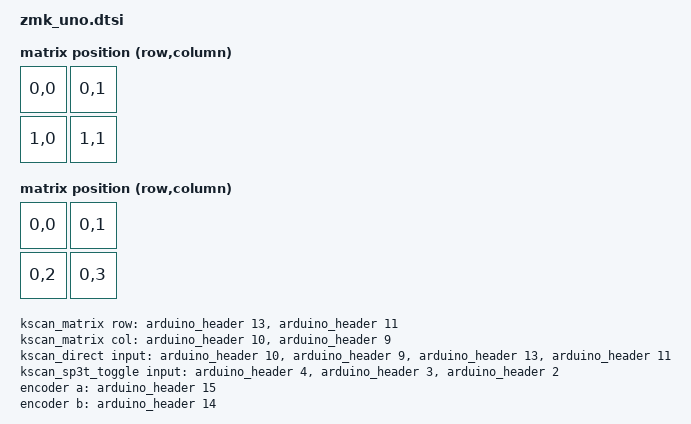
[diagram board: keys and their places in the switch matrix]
/*
 * Copyright (c) 2022 The ZMK Contributors
 *
 * SPDX-License-Identifier: MIT
 */

#include <dt-bindings/led/led.h>
#include <dt-bindings/zmk/matrix_transform.h>
#include "zmk_uno-layouts.dtsi"


&arduino_i2c {
    status = "okay";
};

nice_view_spi: &arduino_spi {
    status = "okay";

    cs-gpios = <&arduino_header 16 GPIO_ACTIVE_HIGH>;

    // Needed so the nice_view shield will enhance the existing node which falls *first*
    // on the bus, properly picking up the first `cs-gpios` specifier.
    ls0xx@0 {
        reg = <0>;

        power-domain = <&core_power_domain>;
        zephyr,pm-device-runtime-auto;
    };

    led_strip: ws2812@0 {
        compatible = "worldsemi,ws2812-spi";

        power-domain = <&rgb_power>;
        zephyr,pm-device-runtime-auto;

        /* SPI */
        reg = <0>; /* ignored, but necessary for SPI bindings */
        spi-max-frequency = <4000000>;

        /* WS2812 */
        chain-length = <7>; /* 4 underglow + 3 per-key LEDs */
        spi-one-frame = <0x70>;
        spi-zero-frame = <0x40>;

        color-mapping = <LED_COLOR_ID_GREEN LED_COLOR_ID_RED LED_COLOR_ID_BLUE>;

    };
};

/ {
    chosen {
        zmk,backlight = &backlight;
        zmk,underglow = &led_strip;
        zephyr,display = &oled;
        zmk,display-default-power-domain = &core_power_domain;
    };

    core_power_domain: core_power_domain {
        // The "power-domain" compatible is needed for any PDs used for that have dynamic deps,
        // e.g. for displays or RGB not assigned to the PD in the devicetree statically.
        compatible = "power-domain-gpio", "power-domain";
        startup-delay-us = <2000>;
        off-on-delay-us = <2000>;
        enable-gpios = <&arduino_header 0 GPIO_ACTIVE_LOW>;
        zephyr,pm-device-runtime-auto;
    };

    rgb_power: rgb_power {
        compatible = "power-domain-gpio";
        startup-delay-us = <200>;
        off-on-delay-us = <2000>;
        enable-gpios = <&arduino_header 1 GPIO_ACTIVE_LOW>;
        power-domain = <&core_power_domain>;
        zephyr,pm-device-runtime-auto;
    };

    backlight: gpioleds {
        compatible = "gpio-leds";
        gpio_led_0 {
            gpios = <&arduino_header 12 GPIO_ACTIVE_HIGH>;
        };
    };

    matrix_transform: matrix_transform {
        compatible = "zmk,matrix-transform";
        rows = <3>;
        columns = <4>;

        map = <
        RC(0,0) RC(0,1)
        RC(1,0) RC(1,1)
        >;
    };

    direct_matrix_transform: direct_matrix_transform {
        compatible = "zmk,matrix-transform";
        rows = <3>;
        columns = <4>;

        map = <
        RC(0,0) RC(0,1)
        RC(0,2) RC(0,3)
        >;
    };

    kscan_matrix: kscan_matrix {
        compatible = "zmk,kscan-gpio-matrix";
        wakeup-source;

        diode-direction = "col2row";

        col-gpios
        = <&arduino_header 10 GPIO_ACTIVE_HIGH>
        , <&arduino_header 9  GPIO_ACTIVE_HIGH>
        ;

        row-gpios
        = <&arduino_header 13 (GPIO_ACTIVE_HIGH | GPIO_PULL_DOWN)>
        , <&arduino_header 11 (GPIO_ACTIVE_HIGH | GPIO_PULL_DOWN)>
        ;

    };

    kscan_direct: kscan_direct {
        compatible = "zmk,kscan-gpio-direct";
        wakeup-source;

        input-gpios
        = <&arduino_header 10 (GPIO_ACTIVE_LOW | GPIO_PULL_UP)>
        , <&arduino_header 9  (GPIO_ACTIVE_LOW | GPIO_PULL_UP)>
        , <&arduino_header 13 (GPIO_ACTIVE_LOW | GPIO_PULL_UP)>
        , <&arduino_header 11 (GPIO_ACTIVE_LOW | GPIO_PULL_UP)>
        ;

    };

    kscan_sp3t_toggle: kscan_sp3t_toggle {
        compatible = "zmk,kscan-gpio-direct";
        toggle-mode;

        input-gpios
        = <&arduino_header 4 GPIO_ACTIVE_LOW>
        , <&arduino_header 3 GPIO_ACTIVE_LOW>
        , <&arduino_header 2 GPIO_ACTIVE_LOW>
        ;
    };

    encoder: encoder {
        steps = <80>;
        compatible = "alps,ec11";
        a-gpios = <&arduino_header 15 GPIO_PULL_UP>;
        b-gpios = <&arduino_header 14 GPIO_PULL_UP>;
    };
};

&matrix_physical_layout {
    kscan = <&kscan_matrix>;
    transform = <&matrix_transform>;
};

&direct_physical_layout {
    kscan = <&kscan_direct>;
    transform = <&direct_matrix_transform>;
};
